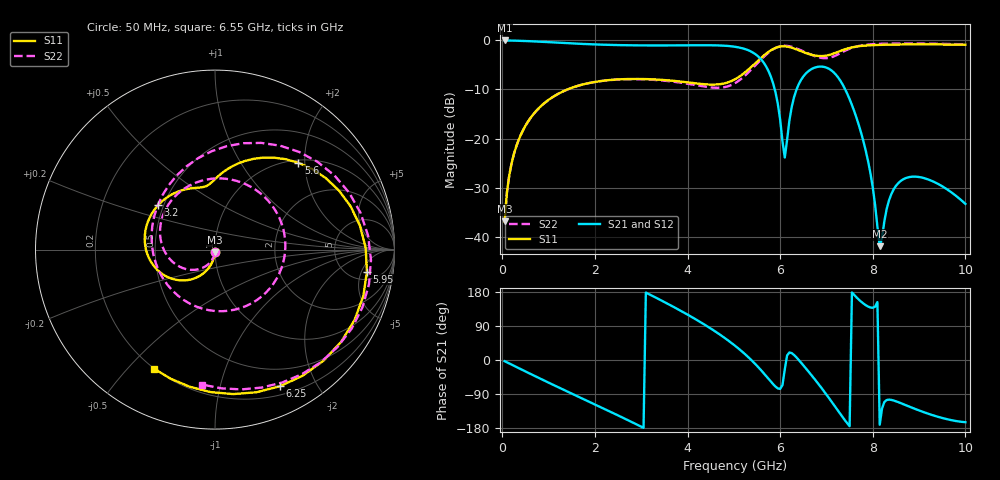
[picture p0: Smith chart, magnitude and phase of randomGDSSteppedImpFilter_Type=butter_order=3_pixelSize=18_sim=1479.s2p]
! freq	dB(S11)	phase(S11)	dB(S12)	phase(S12)
!  dB(S21)	phase(S21)	dB(S22)	phase(S22)
!S-par simulation data
#  GHz  S  DB  R 50
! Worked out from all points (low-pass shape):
!   200 points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, 50 MHz to 10 GHz, reference 50 ohm
!   highest |S21| = -0.01 dB at 50 MHz (marker M1); lowest = -41.9 dB at 8.15 GHz (marker M2)
!   |S21| within 3 dB of the highest: start of sweep to 5.493 GHz
!   lowest |S11| = -36.9 dB at 50 MHz (marker M3), VSWR 1.03, Z = 49.9 - j1.43 ohm
!   |S11| at or under -10 dB: start of sweep to 1.403 GHz
!   |S22| runs from -36.9 to -0.6 dB; largest |S21 - S12| = 0
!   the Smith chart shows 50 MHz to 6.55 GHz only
!   S11 on the Smith chart (normalised r, x): 50 MHz: 1.00, -0.03; 3.2 GHz: 0.47, +0.27; 5.6 GHz: 1.06, +1.86; 5.95 GHz: 6.98, -6.35; 6.25 GHz: 0.29, -1.54; 6.55 GHz: 0.20, -0.59
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0.05  -36.88 -91.4  -0.01 -3.1  -0.01 -3.1  -36.89 -92.8
0.2  -25.07 -99.7  -0.03 -12.2  -0.03 -12.2  -25.08 -105.2
0.5  -17.38 -113.8  -0.12 -30.2  -0.12 -30.2  -17.41 -127.6
1.75  -8.94 -166.8  -0.72 -103.0  -0.72 -103.0  -8.96 139.5
2.5  -7.94 165.9  -0.95 -146.2  -0.95 -146.2  -7.97 80.7
3.2  -7.91 142.2  -1.03 171.8  -1.03 171.8  -7.99 21.2
3.4  -8.01 135.5  -1.03 159.3  -1.03 159.3  -8.12 3.2
4.35  -8.91 105.9  -0.98 94.7  -0.98 94.7  -9.39 -95.6
5.05  -7.78 87.6  -1.33 35.3  -1.33 35.3  -8.57 159.6
5.6  -3.47 46.1  -3.99 -28.6  -3.99 -28.6  -3.77 66.6
5.95  -1.36 -8.2  -12.95 -75.0  -12.95 -75.0  -1.34 5.1
6.1  -1.20 -36.2  -23.86 -24.8  -23.86 -24.8  -1.09 -21.5
6.25  -1.48 -64.5  -13.54 18.1  -13.54 18.1  -1.30 -46.9
6.55  -2.55 -117.2  -6.79 -21.3  -6.79 -21.3  -2.44 -95.5
6.7  -2.98 -140.4  -5.72 -43.7  -5.72 -43.7  -3.04 -121.4
7.05  -2.98 173.2  -5.76 -99.8  -5.76 -99.8  -3.56 162.3
7.35  -1.97 136.2  -9.00 -151.2  -9.00 -151.2  -2.35 87.0
7.7  -1.18 94.0  -17.29 159.2  -17.29 159.2  -1.13 21.4
8.15  -0.91 48.8  -41.92 -170.9  -41.92 -170.9  -0.70 -28.5
8.35  -0.86 31.6  -32.61 -104.6  -32.61 -104.6  -0.65 -44.0
9  -0.81 -15.8  -27.83 -133.1  -27.83 -133.1  -0.64 -81.9
10  -0.89 -71.7  -33.30 -164.1  -33.30 -164.1  -0.80 -125.2
